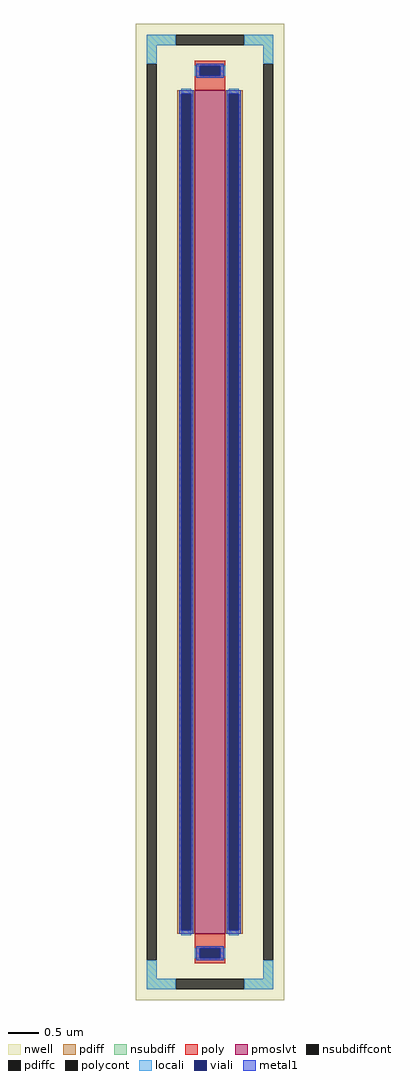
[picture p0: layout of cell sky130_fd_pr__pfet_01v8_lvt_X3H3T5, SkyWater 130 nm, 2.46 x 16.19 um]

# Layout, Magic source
magic
tech sky130A
magscale 1 2
<< nwell >>
rect -246 -1619 246 1619
<< pmoslvt >>
rect -50 -1400 50 1400
<< pdiff >>
rect -108 1388 -50 1400
rect -108 -1388 -96 1388
rect -62 -1388 -50 1388
rect -108 -1400 -50 -1388
rect 50 1388 108 1400
rect 50 -1388 62 1388
rect 96 -1388 108 1388
rect 50 -1400 108 -1388
<< pdiffc >>
rect -96 -1388 -62 1388
rect 62 -1388 96 1388
<< nsubdiff >>
rect -210 1549 -114 1583
rect 114 1549 210 1583
rect -210 1487 -176 1549
rect 176 1487 210 1549
rect -210 -1549 -176 -1487
rect 176 -1549 210 -1487
rect -210 -1583 -114 -1549
rect 114 -1583 210 -1549
<< nsubdiffcont >>
rect -114 1549 114 1583
rect -210 -1487 -176 1487
rect 176 -1487 210 1487
rect -114 -1583 114 -1549
<< poly >>
rect -50 1481 50 1497
rect -50 1447 -34 1481
rect 34 1447 50 1481
rect -50 1400 50 1447
rect -50 -1447 50 -1400
rect -50 -1481 -34 -1447
rect 34 -1481 50 -1447
rect -50 -1497 50 -1481
<< polycont >>
rect -34 1447 34 1481
rect -34 -1481 34 -1447
<< locali >>
rect -210 1549 -114 1583
rect 114 1549 210 1583
rect -210 1487 -176 1549
rect 176 1487 210 1549
rect -50 1447 -34 1481
rect 34 1447 50 1481
rect -96 1388 -62 1404
rect -96 -1404 -62 -1388
rect 62 1388 96 1404
rect 62 -1404 96 -1388
rect -50 -1481 -34 -1447
rect 34 -1481 50 -1447
rect -210 -1549 -176 -1487
rect 176 -1549 210 -1487
rect -210 -1583 -114 -1549
rect 114 -1583 210 -1549
<< viali >>
rect -34 1447 34 1481
rect -96 -1388 -62 1388
rect 62 -1388 96 1388
rect -34 -1481 34 -1447
<< metal1 >>
rect -46 1481 46 1487
rect -46 1447 -34 1481
rect 34 1447 46 1481
rect -46 1441 46 1447
rect -102 1388 -56 1400
rect -102 -1388 -96 1388
rect -62 -1388 -56 1388
rect -102 -1400 -56 -1388
rect 56 1388 102 1400
rect 56 -1388 62 1388
rect 96 -1388 102 1388
rect 56 -1400 102 -1388
rect -46 -1447 46 -1441
rect -46 -1481 -34 -1447
rect 34 -1481 46 -1447
rect -46 -1487 46 -1481
<< properties >>
string FIXED_BBOX -193 -1566 193 1566
string gencell sky130_fd_pr__pfet_01v8_lvt
string library sky130
string parameters w 14.0 l 0.5 m 1 nf 1 diffcov 100 polycov 100 guard 1 glc 1 grc 1 gtc 1 gbc 1 tbcov 100 rlcov 100 topc 1 botc 1 poverlap 0 doverlap 1 lmin 0.35 wmin 0.42 compatible {sky130_fd_pr__pfet_01v8  sky130_fd_pr__pfet_01v8_lvt sky130_fd_pr__pfet_01v8_hvt  sky130_fd_pr__pfet_g5v0d10v5} full_metal 1 viasrc 100 viadrn 100 viagate 100 viagb 0 viagr 0 viagl 0 viagt 0
<< end >>
